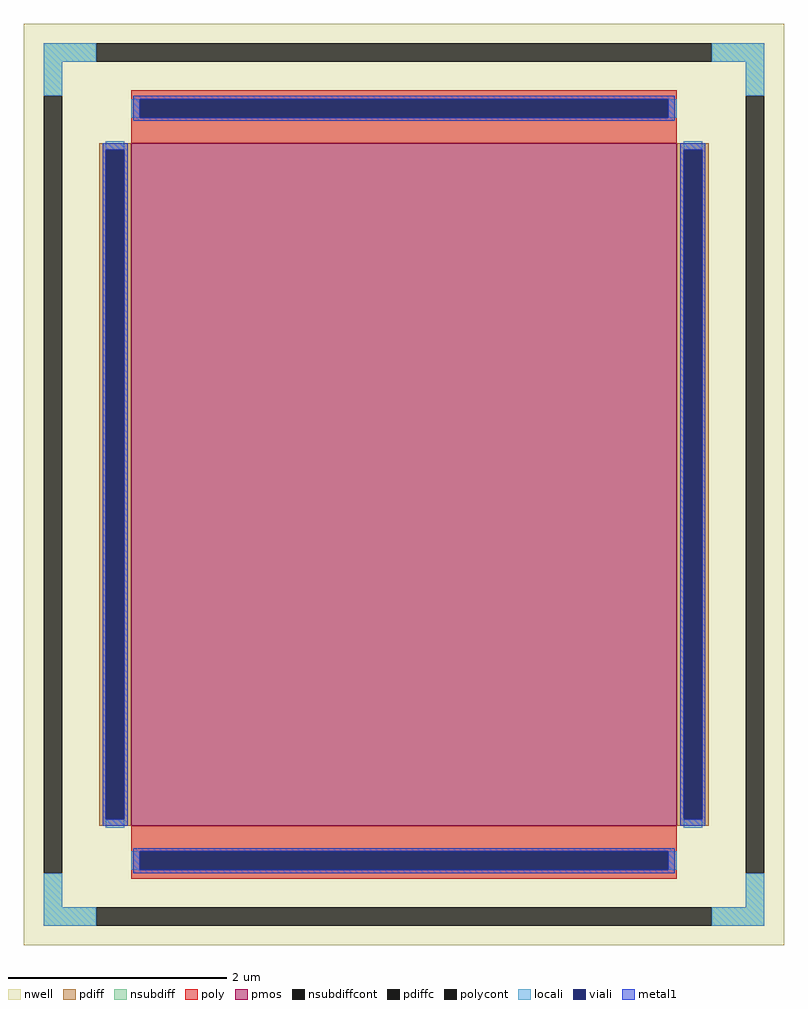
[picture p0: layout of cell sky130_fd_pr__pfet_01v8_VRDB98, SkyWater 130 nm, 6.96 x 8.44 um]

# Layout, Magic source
magic
tech sky130A
magscale 1 2
<< nwell >>
rect -696 -844 696 844
<< pmos >>
rect -500 -625 500 625
<< pdiff >>
rect -558 613 -500 625
rect -558 -613 -546 613
rect -512 -613 -500 613
rect -558 -625 -500 -613
rect 500 613 558 625
rect 500 -613 512 613
rect 546 -613 558 613
rect 500 -625 558 -613
<< pdiffc >>
rect -546 -613 -512 613
rect 512 -613 546 613
<< nsubdiff >>
rect -660 774 -564 808
rect 564 774 660 808
rect -660 712 -626 774
rect 626 712 660 774
rect -660 -774 -626 -712
rect 626 -774 660 -712
rect -660 -808 -564 -774
rect 564 -808 660 -774
<< nsubdiffcont >>
rect -564 774 564 808
rect -660 -712 -626 712
rect 626 -712 660 712
rect -564 -808 564 -774
<< poly >>
rect -500 706 500 722
rect -500 672 -484 706
rect 484 672 500 706
rect -500 625 500 672
rect -500 -672 500 -625
rect -500 -706 -484 -672
rect 484 -706 500 -672
rect -500 -722 500 -706
<< polycont >>
rect -484 672 484 706
rect -484 -706 484 -672
<< locali >>
rect -660 774 -564 808
rect 564 774 660 808
rect -660 712 -626 774
rect 626 712 660 774
rect -500 672 -484 706
rect 484 672 500 706
rect -546 613 -512 629
rect -546 -629 -512 -613
rect 512 613 546 629
rect 512 -629 546 -613
rect -500 -706 -484 -672
rect 484 -706 500 -672
rect -660 -774 -626 -712
rect 626 -774 660 -712
rect -660 -808 -564 -774
rect 564 -808 660 -774
<< viali >>
rect -484 672 484 706
rect -546 -613 -512 613
rect 512 -613 546 613
rect -484 -706 484 -672
<< metal1 >>
rect -496 706 496 712
rect -496 672 -484 706
rect 484 672 496 706
rect -496 666 496 672
rect -552 613 -506 625
rect -552 -613 -546 613
rect -512 -613 -506 613
rect -552 -625 -506 -613
rect 506 613 552 625
rect 506 -613 512 613
rect 546 -613 552 613
rect 506 -625 552 -613
rect -496 -672 496 -666
rect -496 -706 -484 -672
rect 484 -706 496 -672
rect -496 -712 496 -706
<< properties >>
string FIXED_BBOX -643 -791 643 791
string gencell sky130_fd_pr__pfet_01v8
string library sky130
string parameters w 6.25 l 5.0 m 1 nf 1 diffcov 100 polycov 100 guard 1 glc 1 grc 1 gtc 1 gbc 1 tbcov 100 rlcov 100 topc 1 botc 1 poverlap 0 doverlap 1 lmin 0.15 wmin 0.42 class mosfet compatible {sky130_fd_pr__pfet_01v8  sky130_fd_pr__pfet_01v8_lvt sky130_fd_pr__pfet_01v8_hvt  sky130_fd_pr__pfet_g5v0d10v5} full_metal 1 viasrc 100 viadrn 100 viagate 100 viagb 0 viagr 0 viagl 0 viagt 0 ad {int((nf+1)/2) * W/nf * 0.29} as {int((nf+2)/2) * W/nf * 0.29} pd {2*int((nf+1)/2) * (W/nf + 0.29)} ps {2*int((nf+2)/2) * (W/nf + 0.29)} nrd {0.29 / W} nrs {0.29 / W} sa 0 sb 0 sd 0 mult 1
<< end >>
